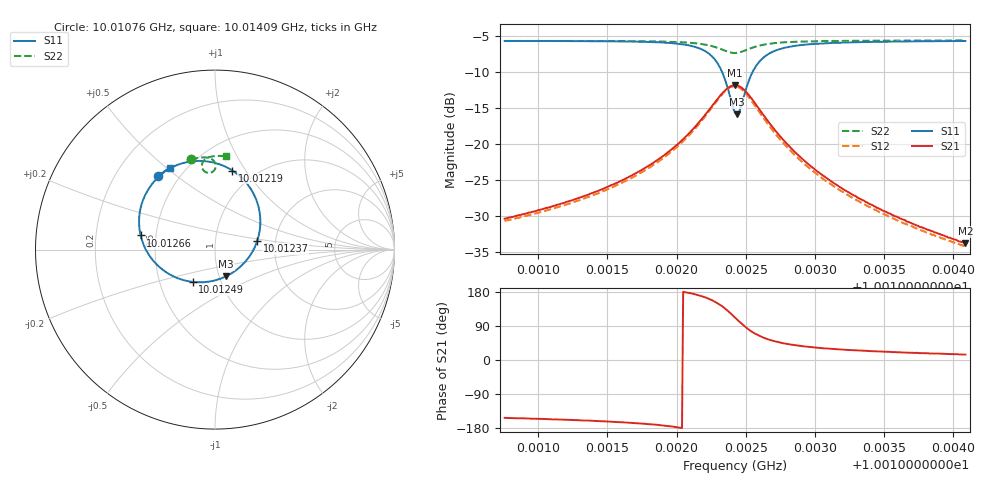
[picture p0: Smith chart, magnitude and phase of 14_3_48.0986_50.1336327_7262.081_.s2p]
#  HZ  S  RI  R  50.00
! Rohde & Schwarz Vector Network Analyzer
! Rohde-Schwarz,ZNB20-2Port,1311601062101988,3.16
! Created: UTC 12/23/2023, 3:36:00 AM
! freq[Hz]  re:S11  im:S11  re:S21  im:S21  re:S12  im:S12  re:S22  im:S22
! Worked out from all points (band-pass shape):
!   401 points, 10.01076 GHz to 10.01409 GHz, reference 50 ohm
!   highest |S21| = -11.82 dB at 10.01242 GHz (marker M1); lowest = -33.7 dB at 10.01409 GHz (marker M2)
!   |S21| within 3 dB of the highest: 10.01225 GHz to 10.01259 GHz (333.4 kHz wide, 0.00333 % of centre)
!   lowest |S11| = -15.9 dB at 10.01244 GHz (marker M3), VSWR 1.38, Z = 54.1 - j16.5 ohm
!   |S11| at or under -10 dB: 10.01233 GHz to 10.01255 GHz (219.6 kHz wide, 0.00219 % of centre)
!   |S22| runs from -7.4 to -5.6 dB; largest |S21 - S12| = 0.011
!   S11 on the Smith chart (normalised r, x): 10.01076 GHz: 0.38, +0.43; 10.01219 GHz: 0.79, +0.87; 10.01237 GHz: 1.61, +0.17; 10.01249 GHz: 0.73, -0.28; 10.01266 GHz: 0.41, +0.08; 10.01409 GHz: 0.41, +0.51
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1.0010758e10  -0.316 0.4116  -0.0271 -0.014  -0.0252 -0.0149  -0.1331 0.5026
1.0011315e10  -0.2579 0.4501  -0.0403 -0.015  -0.0379 -0.0166  -0.094 0.5112
1.0011598e10  -0.2105 0.4714  -0.0536 -0.0151  -0.0507 -0.0173  -0.0719 0.5137
1.0011873e10  -0.1313 0.4913  -0.0783 -0.0115  -0.0748 -0.0151  -0.0463 0.5132
1.0012048e10  -0.0371 0.4905  -0.1085 0.00028  -0.1049 -0.00566  -0.0258 0.5079
1.0012189e10  0.0969 0.4406  -0.1487 0.0334  -0.1469 0.0238  -0.0058 0.4933
1.0012281e10  0.2112 0.3182  -0.1756 0.0902  -0.1769 0.0789  0.00393 0.4709
1.0012331e10  0.2509 0.1902  -0.1765 0.1401  -0.1799 0.1309  0.00159 0.4524
1.0012372e10  0.2354 0.0489  -0.1554 0.1904  -0.1596 0.1828  -0.00896 0.437
1.0012422e10  0.1213 -0.1121  -0.096 0.2379  -0.1019 0.2307  -0.0323 0.4275
1.0012439e10  0.063 -0.1483  -0.0712 0.2452  -0.0764 0.2383  -0.0409 0.4279
1.0012456e10  0.00055 -0.1715  -0.0469 0.2472  -0.0507 0.2405  -0.0493 0.4304
1.0012489e10  -0.1239 -0.1804  0.000133 0.2382  -0.0047 0.2311  -0.0624 0.4397
1.0012531e10  -0.2539 -0.1373  0.0447 0.2098  0.0383 0.2032  -0.0714 0.4549
1.0012564e10  -0.3251 -0.0824  0.0656 0.1829  0.0581 0.1773  -0.0732 0.4667
1.0012605e10  -0.3798 -0.01  0.0783 0.1518  0.0713 0.1469  -0.0714 0.4791
1.0012664e10  -0.4143 0.0791  0.0838 0.1162  0.0758 0.1134  -0.0655 0.492
1.0012805e10  -0.4168 0.2202  0.0736 0.066  0.0672 0.0655  -0.0474 0.5083
1.001298e10  -0.3867 0.3084  0.0576 0.0385  0.053 0.0389  -0.028 0.5163
1.0013205e10  -0.3496 0.3669  0.0432 0.0224  0.0402 0.0233  -0.00713 0.5203
1.0013538e10  -0.3062 0.413  0.0308 0.0121  0.0287 0.0129  0.0193 0.5221
1.0014087e10  -0.252 0.4542  0.0199 0.00512  0.0187 0.00593  0.0586 0.5205
